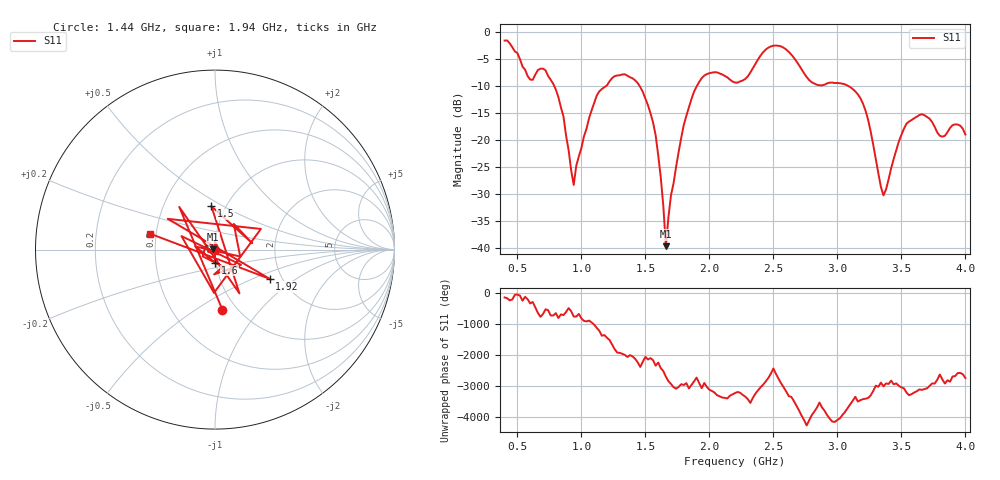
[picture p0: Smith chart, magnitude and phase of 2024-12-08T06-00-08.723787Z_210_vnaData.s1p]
!Created with skrf (http://scikit-rf.org).
# Hz S RI R 50.0
!freq ReS11 ImS11
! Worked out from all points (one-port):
!   181 points, 400 MHz to 4 GHz, reference 50 ohm
!   lowest |S11| = -39.6 dB at 1.66 GHz (marker M1), VSWR 1.02, Z = 49 + j0.0746 ohm
!   |S11| at or under -10 dB: 788.2 MHz to 1.191 GHz (402.5 MHz wide, 40.7 % of centre); 1.455 GHz to 1.901 GHz (445.9 MHz wide, 26.6 % of centre); 3.087 GHz to end of sweep
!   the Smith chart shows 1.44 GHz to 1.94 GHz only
!   S11 on the Smith chart (normalised r, x): 1.44 GHz: 0.86, -0.65; 1.5 GHz: 0.86, +0.44; 1.6 GHz: 0.99, -0.14; 1.92 GHz: 1.73, -0.64; 1.94 GHz: 0.46, +0.10
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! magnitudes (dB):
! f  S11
! 400 MHz  -1.6
! 600 MHz  -8.8
! 720 MHz  -7.1
! 860 MHz  -15.6
! 940 MHz  -28.3
! 1.12 GHz  -11.7
! 1.3 GHz  -8.0
! 1.44 GHz  -9.4
! 1.5 GHz  -12.3
! 1.56 GHz  -16.8
! 1.6 GHz  -22.8
! 1.66 GHz  -39.6
! 1.7 GHz  -30.2
! 1.76 GHz  -22.1
! 1.92 GHz  -9.2
! 1.94 GHz  -8.5
! 2.2 GHz  -9.3
! 2.48 GHz  -2.7
! 2.66 GHz  -4.7
! 2.8 GHz  -9.3
! 3.1 GHz  -10.2
! 3.22 GHz  -14.5
! 3.36 GHz  -30.2
! 3.56 GHz  -16.5
! 3.66 GHz  -15.2
! 3.8 GHz  -19.2
! 3.92 GHz  -17.1
! 4 GHz  -19.0
